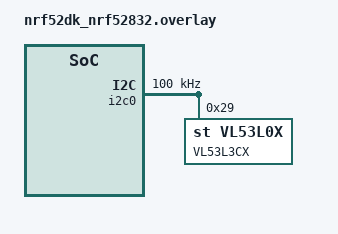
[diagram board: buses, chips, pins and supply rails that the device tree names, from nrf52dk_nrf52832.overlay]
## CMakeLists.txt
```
cmake_minimum_required(VERSION 3.20.0)
find_package(Zephyr REQUIRED HINTS $ENV{ZEPHYR_BASE})

project(TOF_VL53L0X)

target_sources(app PRIVATE src/main.c)
target_sources(app PRIVATE src/ui.c)
```

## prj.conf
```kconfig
# --- Core Console & System ---
CONFIG_PRINTK=y
CONFIG_STDOUT_CONSOLE=y
CONFIG_REBOOT=y

# --- UI Module (UART) ---
CONFIG_SERIAL=y
CONFIG_UART_ASYNC_API=y

# --- Hardware & Sensor Framework ---
CONFIG_I2C=y
CONFIG_SENSOR=y
CONFIG_VL53L0X=y

# --- Floating Point for printk ---
CONFIG_CBPRINTF_FP_SUPPORT=y
```

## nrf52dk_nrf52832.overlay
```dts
&pinctrl {
    i2c0_default: i2c0_default {
        group1 {

            psels = <NRF_PSEL(TWIM_SDA, 0, 26)>,
                    <NRF_PSEL(TWIM_SCL, 0, 27)>;
        };
    };

    i2c0_sleep: i2c0_sleep {
        group1 {

            psels = <NRF_PSEL(TWIM_SDA, 0, 26)>,
                    <NRF_PSEL(TWIM_SCL, 0, 27)>;
            low-power-enable;
        };
    };

};

&i2c0 {
    compatible = "nordic,nrf-twim";
    status = "okay";
    clock-frequency = <I2C_BITRATE_STANDARD>;
    zephyr,concat-buf-size = <4096>;

    vl53l0x: vl53l0x@29 {
        compatible = "st,vl53l0x";
        reg = <0x29>;
        label = "VL53L3CX";
    };

};
```

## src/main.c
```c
#include <zephyr/kernel.h>  
#include <zephyr/device.h>  
#include <zephyr/drivers/sensor.h>  
#include <zephyr/sys/printk.h>      // Exclusive use of native Zephyr logging
#include <zephyr/drivers/i2c.h>  
#include "ui.h"

int main(void)
{
    // Initialize the user interface
    if (ui_init() != 0) return -1;

    // Declare and initialize a variable to hold the I2C device
    const struct device *const dev = DEVICE_DT_GET_ANY(st_vl53l0x);

    // Declare variables for sensor readings and return values
    struct sensor_value value;
    int ret;

    // Check if the device is ready
    if (!device_is_ready(dev)) {
        // Print a message if the device is not ready and return
        printk("sensor: device not ready.\n");
        return 0;
    }

    // Infinite loop for continuous sensor reading
    while (1) {
        // Fetch sensor samples from the device
        ret = sensor_sample_fetch(dev);
        
        // Check if fetching sensor samples failed
        if (ret) {
            // Print an error message if fetching samples failed and return
            printk("sensor_sample_fetch failed ret %d\n", ret);
            return 0;
        }

        // Get distance sensor data from the device
        ret = sensor_channel_get(dev, SENSOR_CHAN_DISTANCE, &value);

        // Convert meters to centimeters
        double distance_cm = sensor_value_to_double(&value) * 100.0;
        
        // Print the distance sensor value in centimeters
        printk("distance is %.3fcm\n", distance_cm);

        // Get the updated delay interval from the UI
        int target_ms = ui_get_interval_ms();
        int elapsed_ms = 0;

        // Check for updates every 100ms while waiting for next reading
        while (elapsed_ms < target_ms) {
            if (ui_interval_changed()) {
                ui_clear_change_flag();
                break; // Restart loop with new interval immediately
            }
            k_msleep(100);
            elapsed_ms += 100;
        }
    }

    // End of main function
    return 0;
}
```

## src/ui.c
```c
#include "ui.h"
#include <zephyr/kernel.h>
#include <zephyr/sys/printk.h>
#include <zephyr/sys/reboot.h>
#include <zephyr/drivers/uart.h>
#include <string.h>
#include <stdlib.h>
#include <ctype.h>

#define RX_BUF_SIZE     64
#define RX_TIMEOUT      25 
#define CMD_BUF_SIZE    256

static uint8_t rx_buf[RX_BUF_SIZE];
static char cmd_buf[CMD_BUF_SIZE];
static size_t cmd_len = 0;
static bool interval_updated = false;
static int interval_ms = 1000;

static const struct device *uart_dev = DEVICE_DT_GET(DT_CHOSEN(zephyr_console));

static void process_commands(void) {
    if (cmd_len == 0) return;

    // Ensure the string is null-terminated for string functions
    cmd_buf[cmd_len] = '\0';

    // 1. Check for Restart
    if (strstr(cmd_buf, "restartDevice")) {
        printk("Rebooting...\n");
        k_msleep(50);
        sys_reboot(SYS_REBOOT_COLD);
        return;
    }

    // 2. Check for Set Interval
    char *p = strstr(cmd_buf, "SET_INTERVAL:");
    if (p) {
        p += strlen("SET_INTERVAL:");

        // Skip non-digits (spaces, colons, etc.)
        while (*p != '\0' && !isdigit((unsigned char)*p)) {
            p++;
        }

        if (isdigit((unsigned char)*p)) {
            int value = atoi(p); // atoi reads all digits until a non-digit appears
            if (value > 0) {
                interval_ms = value * 1000;
                interval_updated = true;
                printk("Interval updated to %d seconds\n", value, interval_ms);
            }
        } else {
            printk("Invalid interval value\n");
        }
    }

    // Reset buffer for the next command
    cmd_len = 0;
    memset(cmd_buf, 0, sizeof(cmd_buf));
}

// --- UART Callback Logic ---
static void uart_cb(const struct device *dev, struct uart_event *evt, void *user_data) {
    switch (evt->type) {
    
    case UART_RX_RDY: {
        const uint8_t *data = &evt->data.rx.buf[evt->data.rx.offset];
        for (size_t i = 0; i < evt->data.rx.len; i++) {
            
            // If it's a newline, process IMMEDIATELY
            if (data[i] == '\r' || data[i] == '\n') {
                if (cmd_len > 0) {
                    process_commands(); 
                }
            } 
            // Add characters to buffer
            else if (cmd_len < CMD_BUF_SIZE - 1) {
                cmd_buf[cmd_len++] = data[i];
            }
        }
        
        /* * FIX FOR THE DELAY: 
         * If the user stops typing but didn't hit enter, 
         * we can choose to process after a small amount of data is received
         * to avoid the 10-second wait.
         */
        break;
    }

    case UART_RX_DISABLED:
        // If the UART timed out and we have data that wasn't processed by a newline
        if (cmd_len > 0) {
            process_commands();
        }
        // Immediately re-enable with a shorter timeout (e.g., 10ms - 50ms)
        uart_rx_enable(dev, rx_buf, sizeof(rx_buf), 20); 
        break;

    default:
        break;
    }
}

int ui_init(void) {
    if (!device_is_ready(uart_dev)) return -1;
    uart_callback_set(uart_dev, uart_cb, NULL);
    return uart_rx_enable(uart_dev, rx_buf, sizeof(rx_buf), RX_TIMEOUT);
}

int ui_get_interval_ms(void) { return interval_ms; }
bool ui_interval_changed(void) { return interval_updated; }
void ui_clear_change_flag(void) { interval_updated = false; }
```
